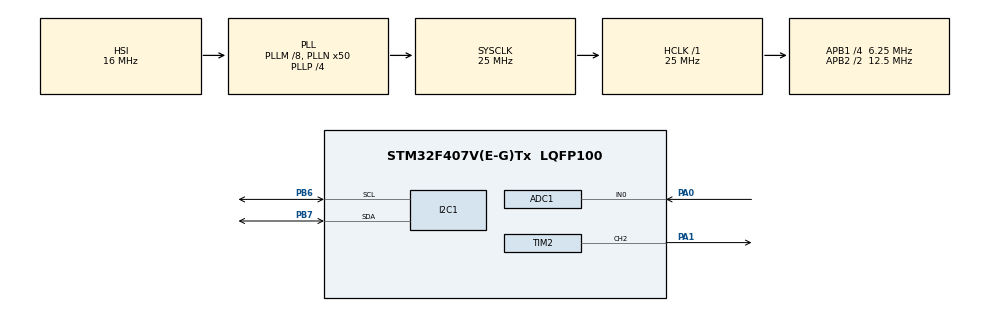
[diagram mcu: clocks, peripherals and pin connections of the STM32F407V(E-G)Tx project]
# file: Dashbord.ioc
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ADC1.Channel-0\#ChannelRegularConversion=ADC_CHANNEL_0
ADC1.ContinuousConvMode=ENABLE
ADC1.EOCSelection=ADC_EOC_SEQ_CONV
ADC1.NbrOfConversionFlag=1
ADC1.Rank-0\#ChannelRegularConversion=1
ADC1.SamplingTime-0\#ChannelRegularConversion=ADC_SAMPLETIME_3CYCLES
ADC1.master=1
Mcu.Family=STM32F4
Mcu.Name=STM32F407V(E-G)Tx
Mcu.Package=LQFP100
NVIC.PriorityGroup=NVIC_PRIORITYGROUP_0
PA0-WKUP.Signal=ADCx_IN0
PA1.Signal=S_TIM2_CH2
PB6.Mode=I2C
PB6.Signal=I2C1_SCL
PB7.Mode=I2C
PB7.Signal=I2C1_SDA
PH0-OSC_IN.Mode=HSE-External-Oscillator
PH0-OSC_IN.Signal=RCC_OSC_IN
PH1-OSC_OUT.Mode=HSE-External-Oscillator
PH1-OSC_OUT.Signal=RCC_OSC_OUT
ProjectManager.HeapSize=0x200
ProjectManager.StackSize=0x400
ProjectManager.TargetToolchain=STM32CubeIDE
RCC.48MHZClocksFreq_Value=14285714.285714285
RCC.AHBFreq_Value=25000000
RCC.APB1CLKDivider=RCC_HCLK_DIV4
RCC.APB1Freq_Value=6250000
RCC.APB1TimFreq_Value=12500000
RCC.APB2CLKDivider=RCC_HCLK_DIV2
RCC.APB2Freq_Value=12500000
RCC.APB2TimFreq_Value=25000000
RCC.CortexFreq_Value=25000000
RCC.HCLKFreq_Value=25000000
RCC.HSE_VALUE=8000000
RCC.HSI_VALUE=16000000
RCC.LSE_VALUE=32768
RCC.PLLM=8
RCC.PLLN=50
RCC.PLLP=RCC_PLLP_DIV4
RCC.PLLQ=7
RCC.SYSCLKFreq_VALUE=25000000
RCC.SYSCLKSource=RCC_SYSCLKSOURCE_PLLCLK
RCC.VCOOutputFreq_Value=100000000
SH.ADCx_IN0.0=ADC1_IN0,IN0
SH.S_TIM2_CH2.0=TIM2_CH2,PWM Generation2 CH2
TIM2.Channel-PWM\ Generation2\ CH2=TIM_CHANNEL_2
TIM2.Period=9999
TIM2.Prescaler=15
VP_TIM2_VS_ClockSourceINT.Mode=Internal
board=STM32F407G-DISC1

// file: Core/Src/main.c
/* USER CODE BEGIN Header */
/**
  ******************************************************************************
  * @file           : main.c
  * @brief          : Main program body
  ******************************************************************************
  * @attention
  *
  * <h2><center>&copy; Copyright (c) 2024 STMicroelectronics.
  * All rights reserved.</center></h2>
  *
  * This software component is licensed by ST under Ultimate Liberty license
  * SLA0044, the "License"; You may not use this file except in compliance with
  * the License. You may obtain a copy of the License at:
  *                             www.st.com/SLA0044
  *
  ******************************************************************************
  */
/* USER CODE END Header */
#include "main.h"

/* USER CODE BEGIN Includes */
#include "lcd.h"

/* USER CODE END Includes */

ADC_HandleTypeDef hadc1;

I2C_HandleTypeDef hi2c1;

TIM_HandleTypeDef htim2;

void SystemClock_Config(void);
static void MX_GPIO_Init(void);
static void MX_ADC1_Init(void);
static void MX_TIM2_Init(void);
static void MX_I2C1_Init(void);

/* USER CODE BEGIN 0 */
uint16_t value=0;
uint16_t PWM;
/* USER CODE END 0 */

int main(void)
{

  /* MCU Configuration--------------------------------------------------------*/

  /* Reset of all peripherals, Initializes the Flash interface and the Systick. */
  HAL_Init();

  /* Configure the system clock */
  SystemClock_Config();

  /* Initialize all configured peripherals */
  MX_GPIO_Init();
  MX_ADC1_Init();
  MX_TIM2_Init();
  MX_I2C1_Init();
  /* USER CODE BEGIN 2 */
  HAL_ADC_Start(&hadc1);
  HAL_TIM_PWM_Start(&htim2, TIM_CHANNEL_2);
  lcd_init();  // Initialize LCD
  lcd_clear(); // Clear LCD screen
  /* USER CODE END 2 */

  /* Infinite loop */
  while (1)
  {

    /* USER CODE BEGIN 3 */
	  HAL_ADC_PollForConversion(&hadc1, 100);  // Poll for ADC conversion
	     value = HAL_ADC_GetValue(&hadc1);  // Get ADC value
	     PWM = 250 + value / 4.1;  // Map potentiometer value to PWM for servo
	     __HAL_TIM_SET_COMPARE(&htim2, TIM_CHANNEL_2, PWM);  // Set PWM signal for servo

	     // Display potentiometer value on the LCD
	     lcd_clear();  // Clear previous data
	     lcd_put_cur(0, 0);  // Set cursor to first row, first column
	     lcd_send_string("Pot Value: ");

	     char buffer[10];
	     sprintf(buffer, "%d", value);  // Convert potentiometer value to string
	     lcd_send_string(buffer);  // Display potentiometer value

	     HAL_Delay(500);  // Wait for 500ms
  /* USER CODE END 3 */
}
}
void SystemClock_Config(void)
{
  RCC_OscInitTypeDef RCC_OscInitStruct = {0};
  RCC_ClkInitTypeDef RCC_ClkInitStruct = {0};

  /** Configure the main internal regulator output voltage
  */
  __HAL_RCC_PWR_CLK_ENABLE();
  __HAL_PWR_VOLTAGESCALING_CONFIG(PWR_REGULATOR_VOLTAGE_SCALE1);

  /** Initializes the RCC Oscillators according to the specified parameters
  * in the RCC_OscInitTypeDef structure.
  */
  RCC_OscInitStruct.OscillatorType = RCC_OSCILLATORTYPE_HSI;
  RCC_OscInitStruct.HSIState = RCC_HSI_ON;
  RCC_OscInitStruct.HSICalibrationValue = RCC_HSICALIBRATION_DEFAULT;
  RCC_OscInitStruct.PLL.PLLState = RCC_PLL_ON;
  RCC_OscInitStruct.PLL.PLLSource = RCC_PLLSOURCE_HSI;
  RCC_OscInitStruct.PLL.PLLM = 8;
  RCC_OscInitStruct.PLL.PLLN = 50;
  RCC_OscInitStruct.PLL.PLLP = RCC_PLLP_DIV4;
  RCC_OscInitStruct.PLL.PLLQ = 7;
  if (HAL_RCC_OscConfig(&RCC_OscInitStruct) != HAL_OK)
  {
    Error_Handler();
  }

  /** Initializes the CPU, AHB and APB buses clocks
  */
  RCC_ClkInitStruct.ClockType = RCC_CLOCKTYPE_HCLK|RCC_CLOCKTYPE_SYSCLK
                              |RCC_CLOCKTYPE_PCLK1|RCC_CLOCKTYPE_PCLK2;
  RCC_ClkInitStruct.SYSCLKSource = RCC_SYSCLKSOURCE_PLLCLK;
  RCC_ClkInitStruct.AHBCLKDivider = RCC_SYSCLK_DIV1;
  RCC_ClkInitStruct.APB1CLKDivider = RCC_HCLK_DIV4;
  RCC_ClkInitStruct.APB2CLKDivider = RCC_HCLK_DIV2;

  if (HAL_RCC_ClockConfig(&RCC_ClkInitStruct, FLASH_LATENCY_0) != HAL_OK)
  {
    Error_Handler();
  }
}

static void MX_ADC1_Init(void)
{

  ADC_ChannelConfTypeDef sConfig = {0};

  /** Configure the global features of the ADC (Clock, Resolution, Data Alignment and number of conversion)
  */
  hadc1.Instance = ADC1;
  hadc1.Init.ClockPrescaler = ADC_CLOCK_SYNC_PCLK_DIV2;
  hadc1.Init.Resolution = ADC_RESOLUTION_12B;
  hadc1.Init.ScanConvMode = DISABLE;
  hadc1.Init.ContinuousConvMode = ENABLE;
  hadc1.Init.DiscontinuousConvMode = DISABLE;
  hadc1.Init.ExternalTrigConvEdge = ADC_EXTERNALTRIGCONVEDGE_NONE;
  hadc1.Init.ExternalTrigConv = ADC_SOFTWARE_START;
  hadc1.Init.DataAlign = ADC_DATAALIGN_RIGHT;
  hadc1.Init.NbrOfConversion = 1;
  hadc1.Init.DMAContinuousRequests = DISABLE;
  hadc1.Init.EOCSelection = ADC_EOC_SEQ_CONV;
  if (HAL_ADC_Init(&hadc1) != HAL_OK)
  {
    Error_Handler();
  }

  /** Configure for the selected ADC regular channel its corresponding rank in the sequencer and its sample time.
  */
  sConfig.Channel = ADC_CHANNEL_0;
  sConfig.Rank = 1;
  sConfig.SamplingTime = ADC_SAMPLETIME_3CYCLES;
  if (HAL_ADC_ConfigChannel(&hadc1, &sConfig) != HAL_OK)
  {
    Error_Handler();
  }

}

static void MX_I2C1_Init(void)
{

  hi2c1.Instance = I2C1;
  hi2c1.Init.ClockSpeed = 100000;
  hi2c1.Init.DutyCycle = I2C_DUTYCYCLE_2;
  hi2c1.Init.OwnAddress1 = 0;
  hi2c1.Init.AddressingMode = I2C_ADDRESSINGMODE_7BIT;
  hi2c1.Init.DualAddressMode = I2C_DUALADDRESS_DISABLE;
  hi2c1.Init.OwnAddress2 = 0;
  hi2c1.Init.GeneralCallMode = I2C_GENERALCALL_DISABLE;
  hi2c1.Init.NoStretchMode = I2C_NOSTRETCH_DISABLE;
  if (HAL_I2C_Init(&hi2c1) != HAL_OK)
  {
    Error_Handler();
  }

}

static void MX_TIM2_Init(void)
{

  TIM_ClockConfigTypeDef sClockSourceConfig = {0};
  TIM_MasterConfigTypeDef sMasterConfig = {0};
  TIM_OC_InitTypeDef sConfigOC = {0};

  htim2.Instance = TIM2;
  htim2.Init.Prescaler = 15;
  htim2.Init.CounterMode = TIM_COUNTERMODE_UP;
  htim2.Init.Period = 9999;
  htim2.Init.ClockDivision = TIM_CLOCKDIVISION_DIV1;
  htim2.Init.AutoReloadPreload = TIM_AUTORELOAD_PRELOAD_DISABLE;
  if (HAL_TIM_Base_Init(&htim2) != HAL_OK)
  {
    Error_Handler();
  }
  sClockSourceConfig.ClockSource = TIM_CLOCKSOURCE_INTERNAL;
  if (HAL_TIM_ConfigClockSource(&htim2, &sClockSourceConfig) != HAL_OK)
  {
    Error_Handler();
  }
  if (HAL_TIM_PWM_Init(&htim2) != HAL_OK)
  {
    Error_Handler();
  }
  sMasterConfig.MasterOutputTrigger = TIM_TRGO_RESET;
  sMasterConfig.MasterSlaveMode = TIM_MASTERSLAVEMODE_DISABLE;
  if (HAL_TIMEx_MasterConfigSynchronization(&htim2, &sMasterConfig) != HAL_OK)
  {
    Error_Handler();
  }
  sConfigOC.OCMode = TIM_OCMODE_PWM1;
  sConfigOC.Pulse = 0;
  sConfigOC.OCPolarity = TIM_OCPOLARITY_HIGH;
  sConfigOC.OCFastMode = TIM_OCFAST_DISABLE;
  if (HAL_TIM_PWM_ConfigChannel(&htim2, &sConfigOC, TIM_CHANNEL_2) != HAL_OK)
  {
    Error_Handler();
  }
  HAL_TIM_MspPostInit(&htim2);

}

static void MX_GPIO_Init(void)
{

  /* GPIO Ports Clock Enable */
  __HAL_RCC_GPIOH_CLK_ENABLE();
  __HAL_RCC_GPIOA_CLK_ENABLE();
  __HAL_RCC_GPIOB_CLK_ENABLE();

}

void Error_Handler(void)
{
  __disable_irq();
  while (1)
  {
  }
}
